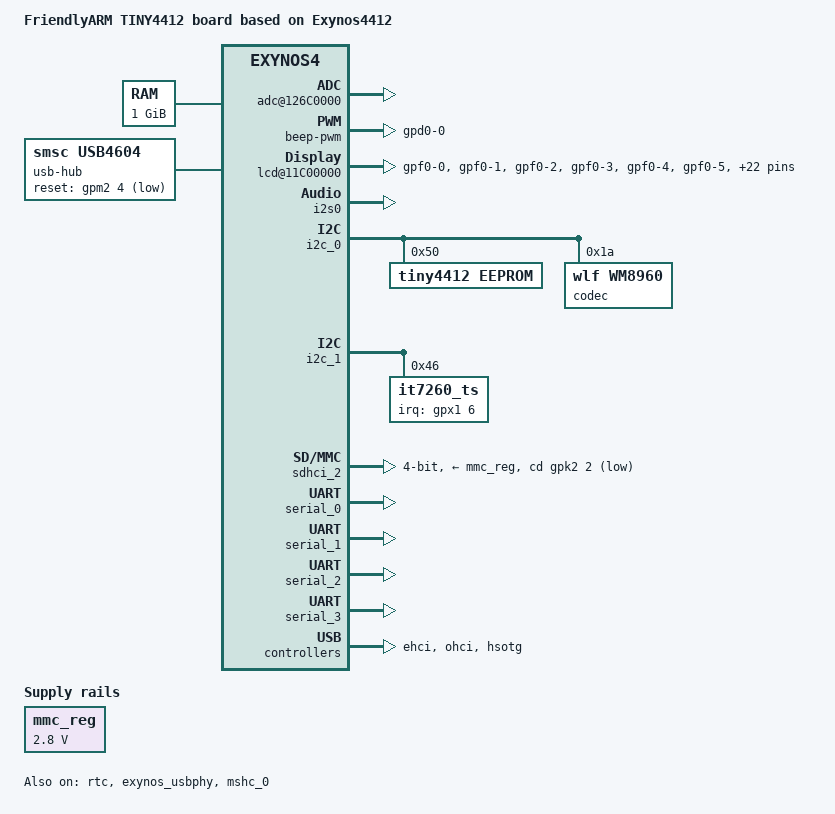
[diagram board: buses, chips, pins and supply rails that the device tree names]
// SPDX-License-Identifier: GPL-2.0
/*
 * FriendlyARM's Exynos4412 based TINY4412 board device tree source
 *
 * Copyright (c) 2013 Alex Ling <kasimling@gmail.com>
 *
 * Device tree source file for FriendlyARM's TINY4412 board which is based on
 * Samsung's Exynos4412 SoC.
 */

/dts-v1/;
#include "exynos4412.dtsi"
#include <dt-bindings/sound/samsung-i2s.h>
#include <dt-bindings/gpio/gpio.h>

/ {
	model = "FriendlyARM TINY4412 board based on Exynos4412";
	compatible = "friendlyarm,tiny4412", "samsung,exynos4412", "samsung,exynos4";

	chosen {
		stdout-path = &serial_0;
		bootargs = "root=/dev/ram0 rw rootfstype=ext4 console=ttySAC0,115200 init=/linuxrc earlyprintk";
	};

	memory@40000000 {
		device_type = "memory";
		reg = <0x40000000 0x40000000>;
	};
	
	HelloWorld {
		compatible = "tiny4412, hello_world";
		status = "okay";

		test {
			label = "test";
		};
	};


	leds {
		compatible = "gpio-leds";
		status = "disabled";

		led1 {
			label = "led1";
			gpios = <&gpm4 0 GPIO_ACTIVE_LOW>;
			default-state = "off";
			linux,default-trigger = "heartbeat";
		};

		led2 {
			label = "led2";
			gpios = <&gpm4 1 GPIO_ACTIVE_LOW>;
			default-state = "off";
		};

		led3 {
			label = "led3";
			gpios = <&gpm4 2 GPIO_ACTIVE_LOW>;
			default-state = "off";
		};

		led4 {
			label = "led4";
			gpios = <&gpm4 3 GPIO_ACTIVE_LOW>;
			default-state = "off";
			linux,default-trigger = "mmc0";
		};
	};
	
	gpio_demo {
		compatible = "tiny4412,gpio_demo";
		reg = <0x110002e0 0x10>;
		tiny4412,gpio = <&gpm4 0 GPIO_ACTIVE_HIGH &gpm4 1 GPIO_ACTIVE_HIGH>;
		pinctrl-names = "default", "gpio_sleep", "gpio_active";
		pinctrl-0 = <&led_gpio_default>;
		pinctrl-1 = <&led_gpio_sleep>;
		pinctrl-2 = <&led_gpio_active>;
	};

	beep {
		compatible = "tiny4412,beep";
		reg = <0x114000A0 0x20>;
		tiny4412,gpio = <&gpd0 0 GPIO_ACTIVE_LOW>;
		pinctrl-names = "default", "gpio_active";
		pinctrl-0 = <&beep_default>;
		pinctrl-1 = <&beep_active>;
	};

/*
	 interrupt_demo: interrupt_demo {
            compatible         = "tiny4412,interrupt_demo";
            tiny4412,key1 = <&gpx3 2 GPIO_ACTIVE_HIGH>;
            tiny4412,key2 = <&gpx3 3 GPIO_ACTIVE_HIGH>;
            tiny4412,key3 = <&gpx3 4 GPIO_ACTIVE_HIGH>;
            tiny4412,key4 = <&gpx3 5 GPIO_ACTIVE_HIGH>;
    };

*/

	keys {
                compatible = "tiny4412,keys";
                tiny4412,key1 = <&gpx3 2 GPIO_ACTIVE_HIGH>;
                tiny4412,key2 = <&gpx3 3 GPIO_ACTIVE_HIGH>;
                tiny4412,key3 = <&gpx3 4 GPIO_ACTIVE_HIGH>;
                tiny4412,key4 = <&gpx3 5 GPIO_ACTIVE_HIGH>;
        };

	timer3@139D0000 {
		compatible = "tiny4412,timer3";
		reg = <0x139D0000 0x48>;
		interrupts = <0 40 0>;
		clocks = <&clock CLK_PWM>;
		clock-names = "timers";
	};

	adc@126C0000 {
		compatible = "tiny4412,adc";
		reg = <0x126C0000  0x20>;
		clocks = <&clock CLK_TSADC>;
		clock-names = "timers";
		interrupt-parent = <&combiner>;
		interrupts = <10 3>;
	};


	backlight {
		compatible = "tiny4412,backlight";
		reg = <0x139D0000 0x1000>;
		pinctrl-names = "backlight_in", "backlight_out";
		pinctrl-0 = <&backlight_in>;
		pinctrl-1 = <&backlight_out>;
		gpios = <&gpx1 2 GPIO_ACTIVE_HIGH>;
		clock-names = "timers";
		clocks = <&clock CLK_PWM>;
		interrupts = <GIC_SPI 40 IRQ_TYPE_LEVEL_HIGH>;
		pwms = <&pwm 0 1000000000 0>;
	};



/*
	backlight_demo@139D0000{
		compatible = "tiny4412,backlight_demo";
		reg = <0x139D0000  0x14>;
		tiny4412,backlight = <&gpx1 2 GPIO_ACTIVE_HIGH>;
		pinctrl-names = "backlight_out","backlight_in";
		pinctrl-0 = <&backlight_out>;
		pinctrl-1 = <&backlight_in>;
		interrupts = <0 40 0>;
		clocks = <&clock CLK_PWM>;
		clock-names = "timers";
	};

	backlight {
		compatible = "tiny4412, onewire_backlight";
		reg = <0x139D0000 0x1000>;
		pinctrl-names = "backlight_in", "backlight_out";
		pinctrl-0 = <&backlight_in>;
		pinctrl-1 = <&backlight_out>;
		gpios = <&gpx1 2 GPIO_ACTIVE_HIGH>;
		clock-names = "timers";
		clocks = <&clock CLK_PWM>;
		interrupts = <GIC_SPI 40 IRQ_TYPE_LEVEL_HIGH>;
		pwms = <&pwm 0 1000000000 0>;
	};
*/

	beep-pwm {
                compatible = "tiny4412,beep-pwm";
                reg = <0x139D0000 0x14>;
                pinctrl-names = "pwm_pin";
                pinctrl-0 = <&pwm_pin>;
                clocks = <&clock CLK_PWM>;
                clock-names = "timers";
        };

	lcd@11C00000 {
		compatible = "tiny4412,lcd";
		reg = <0x11C00000  0x20c0 0x10010210 0x08 0x10023c80 0x04 0x1003c000 0x1000>;
		pinctrl-names = "default";
		pinctrl-0 = <&lcd>;
		clocks = <&clock CLK_FIMD0 &clock CLK_ACLK160>;
		clock-names = "fimd0","aclk160";
	};

/*
	sound {
		compatible = "simple-audio-card";
		simple-audio-card,name = "wm-sound";

		simple-audio-card,format = "i2s";
		simple-audio-card,bitclock-master = <&link0_codec>;
		simple-audio-card,frame-master = <&link0_codec>;

		simple-audio-card,widgets =
			"Microphone", "Mic Jack",
			"Line", "Line In",
			"Line", "Line Out",
			"Speaker", "Speaker",
			"Headphone", "Headphone Jack";
		simple-audio-card,routing =
			"Headphone Jack", "HP_L",
			"Headphone Jack", "HP_R",
			"Speaker", "SPK_LP",
			"Speaker", "SPK_LN",
			"Speaker", "SPK_RP",
			"Speaker", "SPK_RN",
			"LINPUT1", "Mic Jack",
			"LINPUT3", "Mic Jack",
			"RINPUT1", "Mic Jack",
			"RINPUT2", "Mic Jack";

		simple-audio-card,cpu {
			sound-dai = <&i2s0 0>;
		};

		link0_codec: simple-audio-card,codec {
			sound-dai = <&codec>;
			clocks = <&i2s0 CLK_I2S_CDCLK>;
			system-clock-frequency = <11289600>;
		};
	};
*/

	sound{
		compatible = "tiny4412,wm8960-machine";
		samsung,i2s-controller = <&i2s0>;
		samsung,audio-codec = <&codec>;
		samsung,name = "wm-8960a";
		clocks = <&clock CLK_FOUT_EPLL>;
		clock-names = "fout_epll";
		samsung-audio-card,widgets =
			"Microphone", "Mic Jack",
			"Line", "Line In",
			"Line", "Line Out",
			"Speaker", "Speaker",
			"Headphone", "Headphone Jack";
		samsung-audio-card,routing =
			"Headphone Jack", "HP_L",
			"Headphone Jack", "HP_R",
			"Speaker", "SPK_LP",
			"Speaker", "SPK_LN",
			"Speaker", "SPK_RP",
			"Speaker", "SPK_RN",
			"LINPUT1", "Mic Jack",
			"LINPUT3", "Mic Jack",
			"RINPUT1", "Mic Jack",
			"RINPUT2", "Mic Jack";
	};

	fixed-rate-clocks {
		xxti {
			compatible = "samsung,clock-xxti";
			clock-frequency = <0>;
		};

		xusbxti {
			compatible = "samsung,clock-xusbxti";
			clock-frequency = <24000000>;
		};
	};

	usb-hub {
		compatible = "smsc,usb4604";
		reset-gpios = <&gpm2 4 GPIO_ACTIVE_LOW>;
		initial-mode = <1>;
		status = "okay";
	};
	
	regulators {
                compatible = "simple-bus";
                #address-cells = <1>;
                #size-cells = <0>;

                mmc_reg: regulator@0{
                        compatible = "regulator-fixed";
                        reg = <0>;
                        regulator-name = "VMEM_VDD_2.8V";
                        regulator-min-microvolt = <2800000>;
                        regulator-max-microvolt = <2800000>;
                };
        };

};

&pinctrl_0 {
	beep_default:beep_default {
		samsung,pins = "gpd0-0";
                samsung,pin-function = <1>;  //  output
                samsung,pin-pud = <1>;       //  Enables Pull-down
                samsung,pin-drv = <0>;       //  1X
	};

	beep_active:beep_active {
                samsung,pins = "gpd0-0";
                samsung,pin-function = <1>;  // output
                samsung,pin-pud = <1>;       // Enables Pull-down
                samsung,pin-drv = <2>;       // 2X
        };

	pwm_pin: pwm_pin {
		samsung,pins = "gpd0-0";
		samsung,pin-function = <2>;
		samsung,pin-pud = <0>;
		samsung,pin-drv = <0>;
	};

	lcd:lcd {
		samsung,pins = "gpf0-0", "gpf0-1", "gpf0-2", "gpf0-3", "gpf0-4",
			"gpf0-5", "gpf0-6","gpf0-7", "gpf1-0", "gpf1-1",
			"gpf1-2", "gpf1-3", "gpf1-4", "gpf1-5", "gpf1-6",
			"gpf1-7", "gpf2-0", "gpf2-1", "gpf2-2", "gpf2-3", 
			"gpf2-4", "gpf2-5", "gpf2-6","gpf2-7", "gpf3-0",
			"gpf3-1", "gpf3-2", "gpf3-3";
		samsung,pin-function = <2>;
		samsung,pin-pud = <0>;
		samsung,pin-drv = <0>;
	};
};

&pinctrl_1 {
	led_gpio_default: led_gpio_default {
		samsung,pins = "gpm4-0", "gpm4-1";
		samsung,pin-function = <1>;
		samsung,pin-pud = <1>;
		samsung,pin-drv = <2>;
	};
	
	led_gpio_sleep: led_gpio_sleep {
		samsung,pins = "gpm4-0", "gpm4-1";
		samsung,pin-function = <1>;
		samsung,pin-pud = <0>;
		samsung,pin-drv = <0>;
	};
	
	led_gpio_active: led_gpio_active {
		samsung,pins = "gpm4-0", "gpm4-1";
		samsung,pin-function = <1>;
		samsung,pin-pud = <3>;
		samsung,pin-drv = <3>;
	};

	backlight_out: backlight_out {
		samsung,pins = "gpx1-2";
		samsung,pin-function = <EXYNOS_PIN_FUNC_OUTPUT>;
		samsung,pin-pud = <EXYNOS_PIN_PULL_NONE>;
		samsung,pin-drv = <EXYNOS4_PIN_DRV_LV1>;
	};

	backlight_in: backlight_in {
		samsung,pins = "gpx1-2";
		samsung,pin-function = <EXYNOS_PIN_FUNC_INPUT>;
		samsung,pin-pud = <EXYNOS_PIN_PULL_NONE>;
		samsung,pin-drv = <EXYNOS4_PIN_DRV_LV1>;
	};
};

&i2s0 {
	pinctrl-0 = <&i2s0_bus>;
	pinctrl-names = "default";
	status = "okay";
};



&i2c_0 {
	samsung,i2c-sda-delay = <100>;
	samsung,i2c-max-bus-freq = <400000>;
	status = "okay";

	
	eeprom@50 {                      // the same as driverid_table->name
		compatible = "tiny4412,eeprom";     
		reg = <0x50>;            // slave address
	};

	codec: wm8960@1a {
		compatible = "wlf,wm8960";
		reg = <0x1a>;
		clocks = <&pmu_system_controller 0>;
		clock-names = "MCLK1";
		wlf,shared-lrclk;
		#sound-dai-cells = <0>;
	};
};

&i2c_1 {
	samsung,i2c-sda-delay = <100>;
	samsung,i2c-max-bus-freq = <400000>;
	status = "okay";



	it7260_ts@46 {
		compatible = "it7260_ts";
		reg = <0x46>;
		//pinctrl-names = "default";
		//pinctrl-0 = <&i2c1_bus>;
		interrupt-parent = <&gpx1>;
		interrupts = <6 IRQ_TYPE_EDGE_FALLING>;
		touchscreen-size-x = <1024>;
		touchscreen-size-y = <600>;
	};

};

&rtc {
	status = "okay";
};

&sdhci_2 {
	bus-width = <4>;
	pinctrl-0 = <&sd2_clk &sd2_cmd &sd2_cd &sd2_bus4>;
	pinctrl-names = "default";
	vmmc-supply = <&mmc_reg>;
	cd-gpios = <&gpk2 2 GPIO_ACTIVE_HIGH>;
	cd-inverted;
	status = "okay";
};

&serial_0 {
	status = "okay";
};

&serial_1 {
	status = "okay";
};

&serial_2 {
	status = "okay";
};

&serial_3 {
	status = "okay";
};

&exynos_usbphy {
        status = "okay";
};

&ehci {
    status = "okay";
    port@0 {
      status = "okay";
    };
    port@1 {
      status = "okay";
    };
    port@2 {
      status = "okay";
    };
};

&ohci {
        status = "okay";
        port@0 {
                status = "okay";
        };
};

&hsotg {
        status = "okay";
};

&mshc_0 {
	num-slots = <1>;
	clock-frequency = <400000000>;

	non-removable;
        pinctrl-0 = <&sd4_clk &sd4_cmd &sd4_bus4 &sd4_bus8>;
        pinctrl-names = "default";
	vmmc-supply = <&mmc_reg>;
        status = "okay";

        broken-cd;
        card-detect-delay = <200>;
        samsung,dw-mshc-ciu-div = <3>;
        samsung,dw-mshc-sdr-timing = <2 3>;
        samsung,dw-mshc-ddr-timing = <1 2>;
        bus-width = <8>;
        cap-mmc-highspeed;
};

